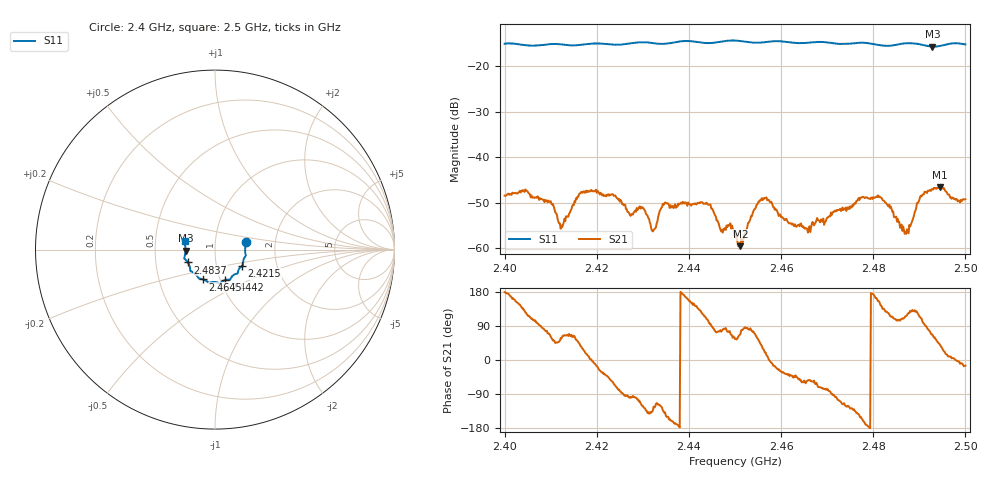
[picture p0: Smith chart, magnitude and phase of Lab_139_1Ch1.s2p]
# Hz S RI R 50
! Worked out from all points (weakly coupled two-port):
!   601 points, 2.4 GHz to 2.5 GHz, reference 50 ohm
!   highest |S21| = -46.60 dB at 2.4945 GHz (marker M1); lowest = -59.5 dB at 2.4512 GHz (marker M2)
!   lowest |S11| = -15.7 dB at 2.4928 GHz (marker M3), VSWR 1.39, Z = 36 - j0.384 ohm
!   |S11| at or under -10 dB: start of sweep to end of sweep
!   S12 and S22 are empty: the file has one direction only
!   S11 on the Smith chart (normalised r, x): 2.4 GHz: 1.41, +0.12; 2.4215 GHz: 1.33, -0.25; 2.4442 GHz: 1.05, -0.37; 2.4645 GHz: 0.83, -0.29; 2.4837 GHz: 0.73, -0.11; 2.5 GHz: 0.71, +0.07
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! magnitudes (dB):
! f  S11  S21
! 2.4 GHz  -15.1  -48.4
! 2.4095 GHz  -15.2  -49.5
! 2.4123 GHz  -15.2  -55.0
! 2.4167 GHz  -15.3  -47.6
! 2.4215 GHz  -15.1  -48.5
! 2.4298 GHz  -14.8  -51.1
! 2.4323 GHz  -15.0  -56.0
! 2.4333 GHz  -15.1  -53.1
! 2.4348 GHz  -15.1  -49.9
! 2.4442 GHz  -15.0  -50.4
! 2.45 GHz  -14.4  -57.5
! 2.4512 GHz  -14.5  -59.5
! 2.4563 GHz  -14.8  -49.1
! 2.4645 GHz  -15.0  -55.2
! 2.4667 GHz  -14.8  -54.6
! 2.4773 GHz  -14.9  -48.9
! 2.4833 GHz  -15.6  -50.8
! 2.4837 GHz  -15.5  -51.1
! 2.4872 GHz  -15.0  -56.8
! 2.4928 GHz  -15.7  -47.0
! 2.4945 GHz  -15.6  -46.6
! 2.5 GHz  -15.2  -49.2
